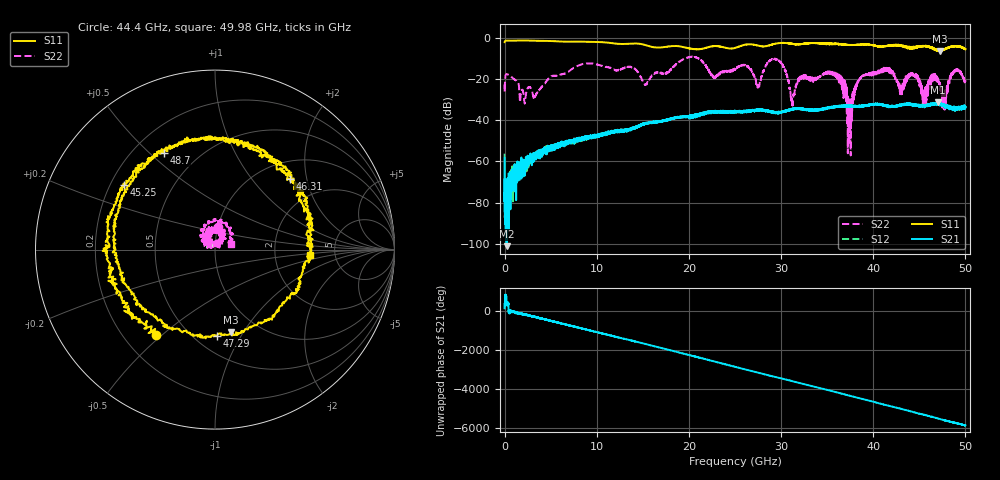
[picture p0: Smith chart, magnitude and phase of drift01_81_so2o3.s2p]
!Created with skrf (http://scikit-rf.org).
# Hz S RI R 50.0
!freq ReS11 ImS11 ReS21 ImS21 ReS12 ImS12 ReS22 ImS22
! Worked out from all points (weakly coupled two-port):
!   10001 points, 300 kHz to 50 GHz, reference 50 ohm
!   highest |S21| = -31.42 dB at 46.99 GHz (marker M1); lowest = -101.1 dB at 215.3 MHz (marker M2)
!   lowest |S11| = -6.6 dB at 47.24 GHz (marker M3), VSWR 2.76, Z = 37.6 - j44.2 ohm
!   |S11| at or under -10 dB: nowhere
!   |S22| runs from -57.1 to -9.2 dB; largest |S21 - S12| = 0.004
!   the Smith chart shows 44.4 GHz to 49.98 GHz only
!   S11 on the Smith chart (normalised r, x): 44.4 GHz: 0.34, -0.48; 45.25 GHz: 0.25, +0.30; 46.31 GHz: 1.35, +1.59; 47.29 GHz: 0.64, -0.79; 48.7 GHz: 0.32, +0.55; 49.98 GHz: 3.21, -0.29
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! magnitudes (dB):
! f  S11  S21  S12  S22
! 300 kHz  -2.1  -58.3  -56.2  -22.6
! 215.3 MHz  -1.4  -101.1  -85.0  -17.7
! 3.29 GHz  -1.5  -56.8  -58.4  -28.8
! 8.335 GHz  -1.9  -49.2  -49.3  -12.9
! 16.67 GHz  -4.8  -40.6  -40.8  -16.7
! 25 GHz  -5.0  -35.7  -35.9  -15.3
! 29.58 GHz  -2.8  -36.4  -36.4  -10.8
! 31.23 GHz  -3.0  -34.6  -34.6  -32.0
! 33.34 GHz  -2.6  -35.4  -35.2  -20.3
! 36.2 GHz  -3.0  -33.6  -33.3  -18.0
! 37.47 GHz  -3.6  -33.3  -32.9  -36.3
! 38.65 GHz  -3.3  -33.2  -33.3  -19.3
! 41.67 GHz  -3.9  -33.3  -33.3  -16.4
! 44.4 GHz  -4.8  -32.5  -32.9  -17.9
! 45.25 GHz  -4.1  -32.9  -33.1  -24.0
! 46.31 GHz  -4.8  -32.4  -32.0  -19.7
! 46.99 GHz  -6.3  -31.4  -31.7  -20.2
! 47.24 GHz  -6.6  -32.9  -31.9  -22.5
! 47.29 GHz  -6.4  -31.8  -32.3  -24.5
! 48.7 GHz  -4.3  -33.9  -33.8  -16.4
! 49.98 GHz  -5.5  -33.8  -33.8  -20.8
! 50 GHz  -5.5  -33.6  -33.1  -21.4
